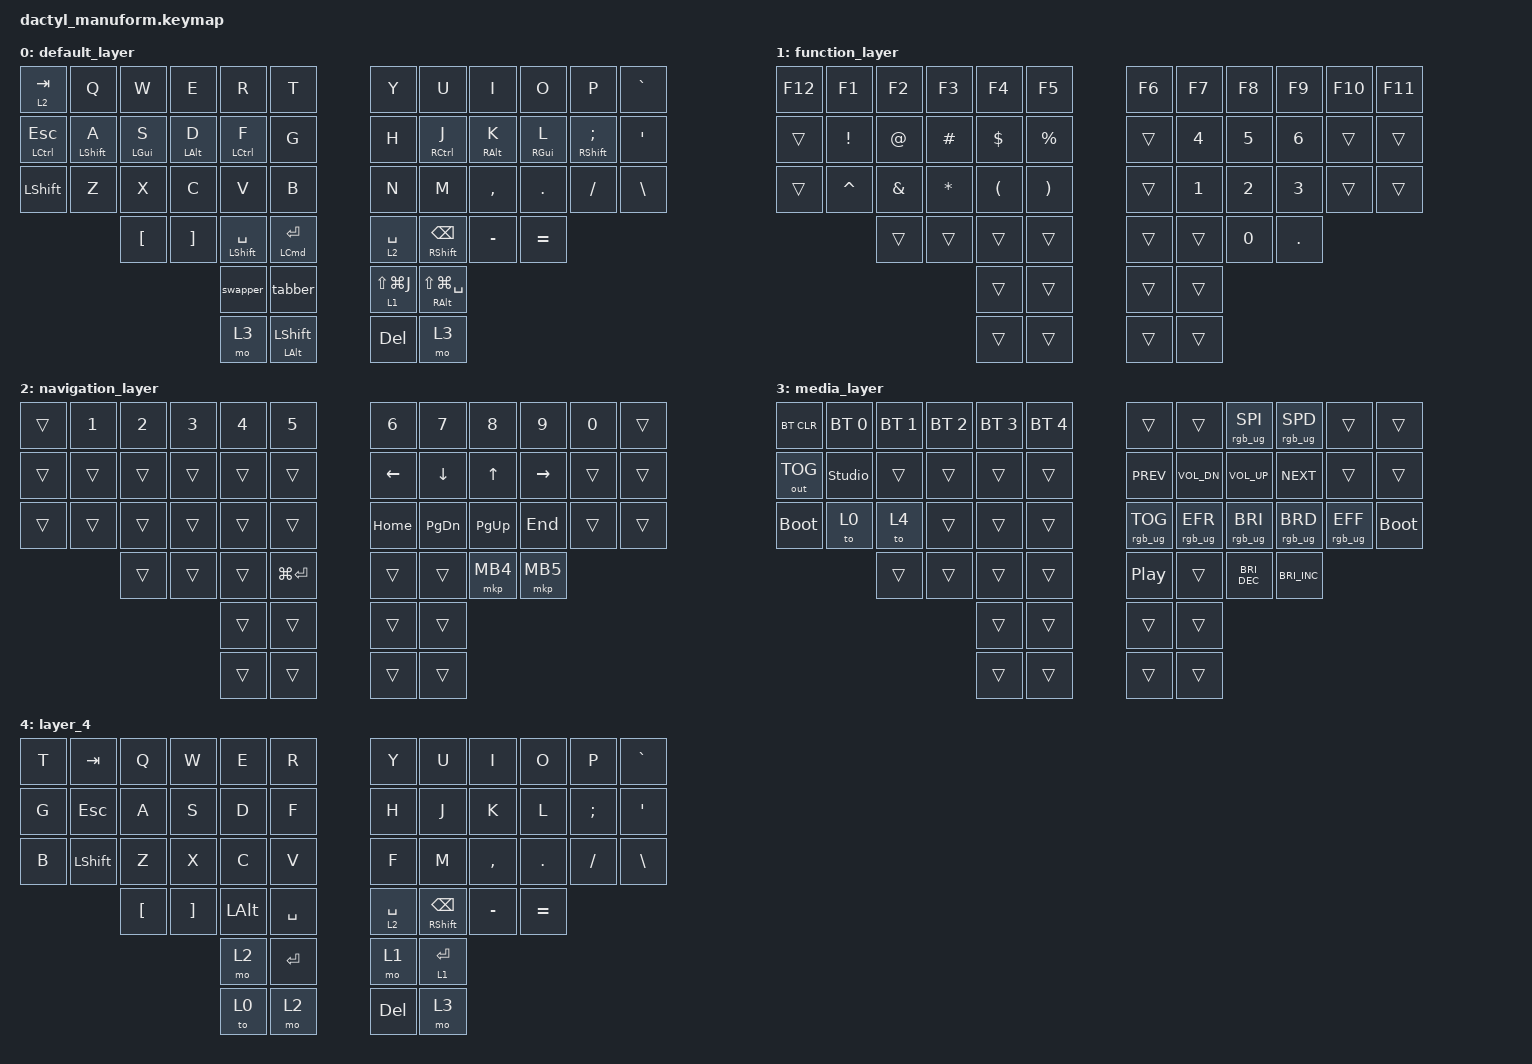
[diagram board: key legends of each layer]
#include <behaviors.dtsi>
#include <dt-bindings/zmk/bt.h>
#include <dt-bindings/zmk/keys.h>
#include <dt-bindings/zmk/outputs.h>
#include <dt-bindings/zmk/pointing.h>
#include <dt-bindings/zmk/rgb.h>

#define WIN 0
#define MAC 1
#define GAME 2
#define FUN 3
#define NAV 4
#define MED 5

&lt { quick-tap-ms = <150>; };

&mt { quick-tap-ms = <150>; };

/ {
    behaviors {
        lh_pht: left_positional_hold_tap {
            compatible = "zmk,behavior-hold-tap";
            #binding-cells = <2>;
            flavor = "balanced";
            tapping-term-ms = <400>;                        // <---[[produces tap if held longer than tapping-term-ms]]
            quick-tap-ms = <200>;
            bindings = <&kp>, <&kp>;

            hold-trigger-key-positions = <6 7 8 9 10 11 18 19 20 21 22 23 34 35 46 47 30 31 32 33 42 43 55 56 57 58 54 55 40 41 51 50>;    // <---[[right-hand keys]]
            hold-trigger-on-release;
            require-prior-idle-ms = <150>;
        };
    };

    behaviors {
        rh_pht: right_positional_hold_tap {
            compatible = "zmk,behavior-hold-tap";
            #binding-cells = <2>;
            flavor = "balanced";
            tapping-term-ms = <400>;                        // <---[[produces tap if held longer than tapping-term-ms]]
            quick-tap-ms = <200>;
            bindings = <&kp>, <&kp>;

            hold-trigger-key-positions = <0 1 2 3 4 0 1 2 3 4 5 12 13 14 15 16 17 24 25 26 27 28 29 36 37 38 39 48 49 52 53 45 44>;    // <---[[left-hand keys]]
            hold-trigger-on-release;
            require-prior-idle-ms = <150>;
        };
    };

    behaviors {
        swapper: swapper {
            compatible = "zmk,behavior-tri-state";
            #binding-cells = <0>;
            bindings = <&kt LALT>, <&kp TAB>, <&kt LALT>;

            ignored-key-positions = <24 41 49>;
        };

        tabber: tabber {
            compatible = "zmk,behavior-tri-state";
            #binding-cells = <0>;
            bindings = <&kt LCTRL>, <&kp TAB>, <&kt LCTRL>;

            ignored-key-positions = <24 41 49>;
        };
    };

    keymap {
        compatible = "zmk,keymap";

        default_layer {
            bindings = <
&lt 2 TAB      &kp Q                 &kp W               &kp E               &kp R                 &kp T                      &kp Y            &kp U                        &kp I                &kp O                &kp P                          &kp GRAVE
&mt LCTRL ESC  &lh_pht LEFT_SHIFT A  &lh_pht LEFT_GUI S  &lh_pht LEFT_ALT D  &lh_pht LCTRL F       &kp G                      &kp H            &rh_pht RCTRL J              &rh_pht RIGHT_ALT K  &rh_pht RIGHT_GUI L  &rh_pht RIGHT_SHIFT SEMICOLON  &kp SQT
&kp LSHFT      &kp Z                 &kp X               &kp C               &kp V                 &kp B                      &kp N            &kp M                        &kp COMMA            &kp DOT              &kp FSLH                       &kp BSLH
                                     &kp LBKT            &kp RBKT            &mt LEFT_SHIFT SPACE  &mt LEFT_COMMAND ENTER     &lt 2 SPACE      &mt RIGHT_SHIFT BACKSPACE    &kp MINUS            &kp EQUAL
                                                                             &swapper              &tabber                    &lt 1 LS(LG(J))  &mt RIGHT_ALT LS(LG(SPACE))
                                                                             &mo 3                 &mt LEFT_ALT LEFT_SHIFT    &kp DELETE       &mo 3
            >;
        };

        function_layer {
            bindings = <
&kp F12  &kp F1     &kp F2    &kp F3    &kp F4    &kp F5       &kp F6  &kp F7  &kp F8  &kp F9   &kp F10  &kp F11
&trans   &kp EXCL   &kp AT    &kp HASH  &kp DLLR  &kp PRCNT    &trans  &kp N4  &kp N5  &kp N6   &trans   &trans
&trans   &kp CARET  &kp AMPS  &kp STAR  &kp LPAR  &kp RPAR     &trans  &kp N1  &kp N2  &kp N3   &trans   &trans
                    &trans    &trans    &trans    &trans       &trans  &trans  &kp N0  &kp DOT
                                        &trans    &trans       &trans  &trans
                                        &trans    &trans       &trans  &trans
            >;
        };

        navigation_layer {
            bindings = <
&trans  &kp N1  &kp N2  &kp N3  &kp N4  &kp N5           &kp N6    &kp N7         &kp N8     &kp N9     &kp N0  &trans
&trans  &trans  &trans  &trans  &trans  &trans           &kp LEFT  &kp DOWN       &kp UP     &kp RIGHT  &trans  &trans
&trans  &trans  &trans  &trans  &trans  &trans           &kp HOME  &kp PAGE_DOWN  &kp PG_UP  &kp END    &trans  &trans
                &trans  &trans  &trans  &kp LG(ENTER)    &trans    &trans         &mkp MB4   &mkp MB5
                                &trans  &trans           &trans    &trans
                                &trans  &trans           &trans    &trans
            >;
        };

        media_layer {
            bindings = <
&bt BT_CLR    &bt BT_SEL 0    &bt BT_SEL 1  &bt BT_SEL 2  &bt BT_SEL 3  &bt BT_SEL 4    &trans            &trans           &rgb_ug RGB_SPI       &rgb_ug RGB_SPD       &trans           &trans
&out OUT_TOG  &studio_unlock  &trans        &trans        &trans        &trans          &kp C_PREV        &kp C_VOL_DN     &kp C_VOL_UP          &kp C_NEXT            &trans           &trans
&bootloader   &to 0           &to 4         &trans        &trans        &trans          &rgb_ug RGB_TOG   &rgb_ug RGB_EFR  &rgb_ug RGB_BRI       &rgb_ug RGB_BRD       &rgb_ug RGB_EFF  &bootloader
                              &trans        &trans        &trans        &trans          &kp C_PLAY_PAUSE  &trans           &kp C_BRIGHTNESS_DEC  &kp C_BRIGHTNESS_INC
                                                          &trans        &trans          &trans            &trans
                                                          &trans        &trans          &trans            &trans
            >;
        };

        layer_4 {
            bindings = <
&kp T  &kp TAB    &kp Q     &kp W     &kp E         &kp R        &kp Y        &kp U                      &kp I      &kp O      &kp P     &kp GRAVE
&kp G  &kp ESC    &kp A     &kp S     &kp D         &kp F        &kp H        &kp J                      &kp K      &kp L      &kp SEMI  &kp SQT
&kp B  &kp LSHFT  &kp Z     &kp X     &kp C         &kp V        &kp F        &kp M                      &kp COMMA  &kp DOT    &kp FSLH  &kp BSLH
                  &kp LBKT  &kp RBKT  &kp LEFT_ALT  &kp SPACE    &lt 2 SPACE  &mt RIGHT_SHIFT BACKSPACE  &kp MINUS  &kp EQUAL
                                      &mo 2         &kp ENTER    &mo 1        &lt 1 ENTER
                                      &to 0         &mo 2        &kp DELETE   &mo 3
            >;
        };
    };
};
